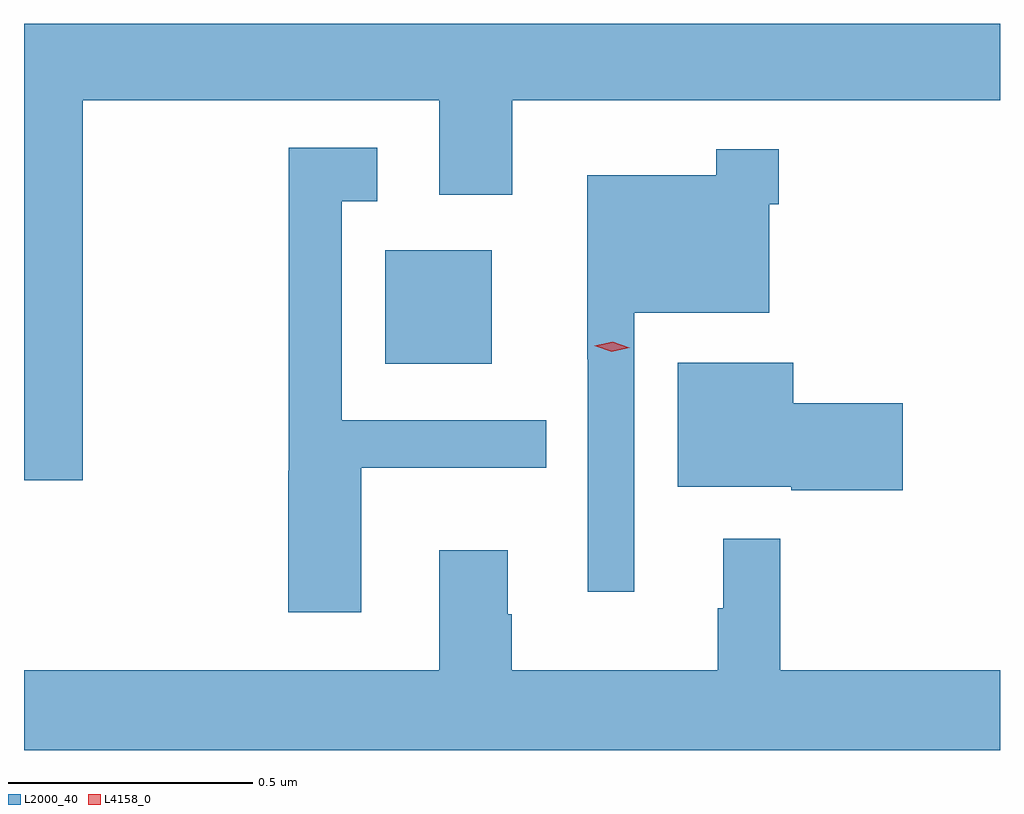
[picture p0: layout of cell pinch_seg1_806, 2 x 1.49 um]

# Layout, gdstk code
import gdstk
lib = gdstk.Library(unit=1e-6, precision=1e-09)
def R(c, l, rs):  # rectangles x0, y0, x1, y1
    for r in rs: c.add(gdstk.rectangle(r[:2], r[2:], *l))
def P(c, l, *ps):  # polygons
    for p in ps: c.add(gdstk.Polygon(p, *l))
L2000_40 = (2000, 40)
L4158_0 = (4158, 0)

pinch_seg1_806 = lib.new_cell('pinch_seg1_806')
R(pinch_seg1_806, L2000_40, [(542.054,545.864,542.272,546.097)])
P(pinch_seg1_806, L2000_40, [(541.434,546.404),(542.165,546.404),(542.165,546.21),(542.314,546.21),(542.314,546.404),(543.314,546.404),(543.314,546.561),(541.314,546.561),(541.314,545.625),(541.434,545.625)],
  [(542.005,545.651),(542.384,545.651),(542.384,545.748),(541.965,545.748),(541.965,546.197),(542.038,546.197),(542.038,546.307),(541.857,546.307),(541.857,545.645),(541.856,545.645),(541.856,545.355),(542.005,545.355)],
  [(542.565,545.969),(542.841,545.969),(542.841,546.191),(542.861,546.191),(542.861,546.304),(542.733,546.304),(542.733,546.25),(542.468,546.25),(542.468,545.873),(542.469,545.873),(542.469,545.397),(542.565,545.397)],
  [(543.115,545.783),(542.89,545.783),(542.89,545.866),(542.654,545.866),(542.654,545.612),(542.886,545.612),(542.886,545.605),(543.115,545.605)],
  [(543.314,545.236),(542.864,545.236),(542.864,545.506),(542.747,545.506),(542.747,545.363),(542.736,545.363),(542.736,545.236),(542.313,545.236),(542.313,545.351),(542.305,545.351),(542.305,545.482),(542.165,545.482),(542.165,545.236),(541.314,545.236),(541.314,545.072),(543.314,545.072)])
P(pinch_seg1_806, L4158_0, [(542.518,545.889),(542.483,545.901),(542.483,545.901),(542.483,545.901),(542.52,545.909),(542.555,545.897),(542.555,545.897),(542.555,545.897)])

lib.write_gds('pinch_seg1_806.gds')
